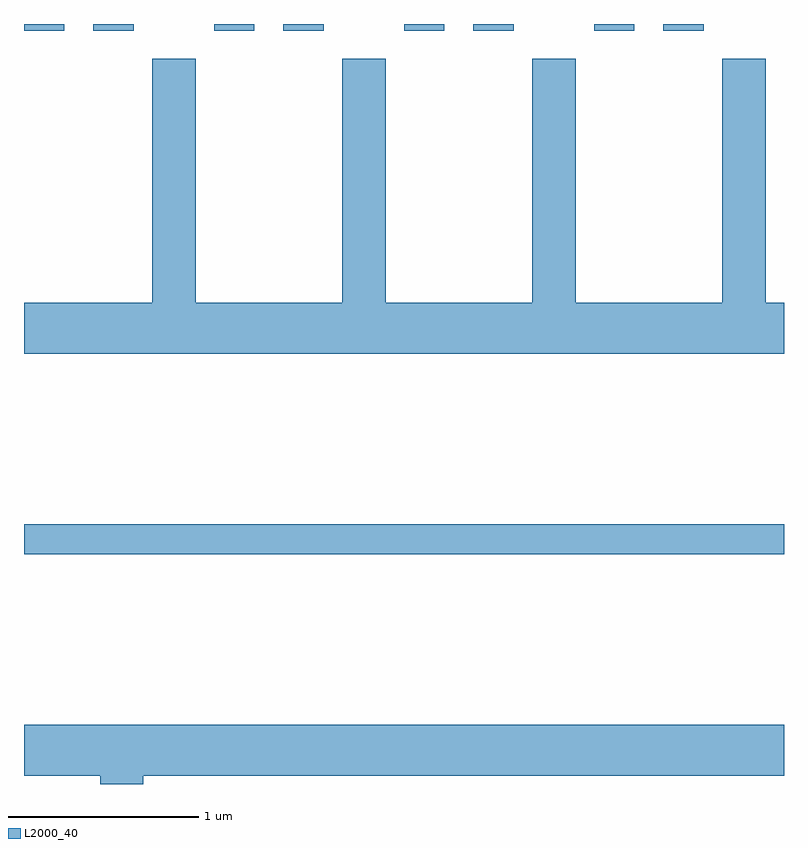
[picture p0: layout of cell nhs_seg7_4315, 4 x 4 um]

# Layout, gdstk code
import gdstk
lib = gdstk.Library(unit=1e-6, precision=1e-09)
def R(c, l, rs):  # rectangles x0, y0, x1, y1
    for r in rs: c.add(gdstk.rectangle(r[:2], r[2:], *l))
def P(c, l, *ps):  # polygons
    for p in ps: c.add(gdstk.Polygon(p, *l))
L2000_40 = (2000, 40)

nhs_seg7_4315 = lib.new_cell('nhs_seg7_4315')
R(nhs_seg7_4315, L2000_40, [(317.611,1735.461,321.611,1735.619), (317.611,1738.216,317.824,1738.252), (317.976,1738.216,318.189,1738.252), (318.611,1738.216,318.824,1738.252), (318.976,1738.216,319.189,1738.252), (319.611,1738.216,319.824,1738.252), (319.976,1738.216,320.189,1738.252), (320.611,1738.216,320.824,1738.252), (320.976,1738.216,321.189,1738.252)])
P(nhs_seg7_4315, L2000_40, [(321.611,1736.784),(321.514,1736.784),(321.514,1738.069),(321.286,1738.069),(321.286,1736.784),(320.514,1736.784),(320.514,1738.069),(320.286,1738.069),(320.286,1736.784),(319.514,1736.784),(319.514,1738.069),(319.286,1738.069),(319.286,1736.784),(318.514,1736.784),(318.514,1738.069),(318.286,1738.069),(318.286,1736.784),(317.611,1736.784),(317.611,1736.516),(321.611,1736.516)],
  [(318.239,1734.296),(321.611,1734.296),(321.611,1734.564),(317.611,1734.564),(317.611,1734.296),(318.011,1734.296),(318.011,1734.252),(318.239,1734.252)])

lib.write_gds('nhs_seg7_4315.gds')
